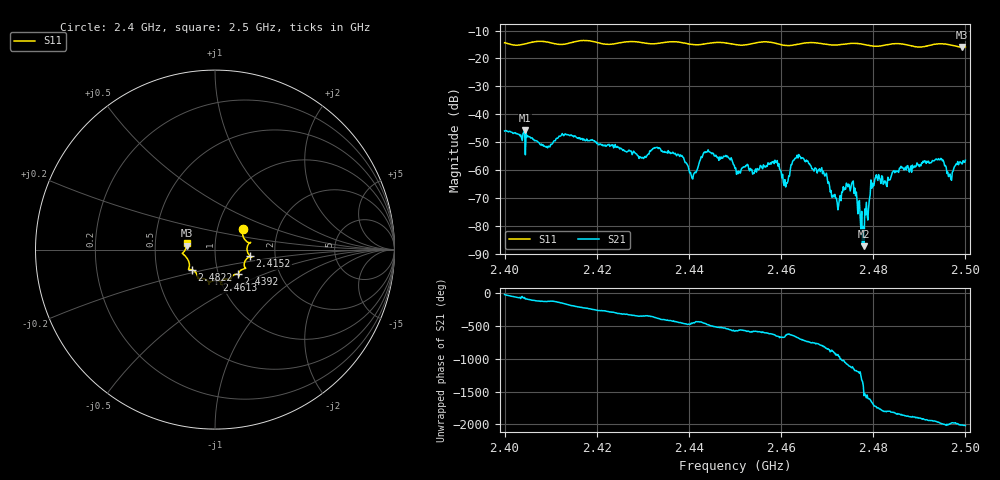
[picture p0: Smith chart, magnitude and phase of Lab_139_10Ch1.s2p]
# Hz S RI R 50
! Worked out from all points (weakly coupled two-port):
!   601 points, 2.4 GHz to 2.5 GHz, reference 50 ohm
!   highest |S21| = -45.77 dB at 2.4043 GHz (marker M1); lowest = -87.2 dB at 2.478 GHz (marker M2)
!   lowest |S11| = -15.9 dB at 2.4993 GHz (marker M3), VSWR 1.38, Z = 36.3 + j1.65 ohm
!   |S11| at or under -10 dB: start of sweep to end of sweep
!   S12 and S22 are empty: the file has one direction only
!   S11 on the Smith chart (normalised r, x): 2.4 GHz: 1.33, +0.31; 2.4152 GHz: 1.48, -0.11; 2.4392 GHz: 1.24, -0.35; 2.4613 GHz: 0.96, -0.34; 2.4822 GHz: 0.75, -0.17; 2.5 GHz: 0.73, +0.05
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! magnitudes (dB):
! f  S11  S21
! 2.4 GHz  -14.4  -46.0
! 2.4043 GHz  -14.8  -45.8
! 2.4152 GHz  -14.0  -47.7
! 2.4167 GHz  -13.6  -48.7
! 2.4297 GHz  -14.3  -55.6
! 2.4333 GHz  -14.6  -52.3
! 2.4392 GHz  -14.5  -57.3
! 2.4407 GHz  -15.0  -62.9
! 2.4438 GHz  -14.7  -53.5
! 2.45 GHz  -15.0  -59.4
! 2.4587 GHz  -14.5  -56.4
! 2.4613 GHz  -15.4  -64.6
! 2.4635 GHz  -14.9  -54.6
! 2.4667 GHz  -14.3  -59.5
! 2.4722 GHz  -15.2  -71.6
! 2.4752 GHz  -14.6  -66.1
! 2.478 GHz  -15.0  -87.2
! 2.48 GHz  -15.6  -65.7
! 2.4822 GHz  -15.4  -65.0
! 2.4833 GHz  -15.0  -63.5
! 2.4993 GHz  -15.9  -57.7
! 2.5 GHz  -15.8  -56.4
